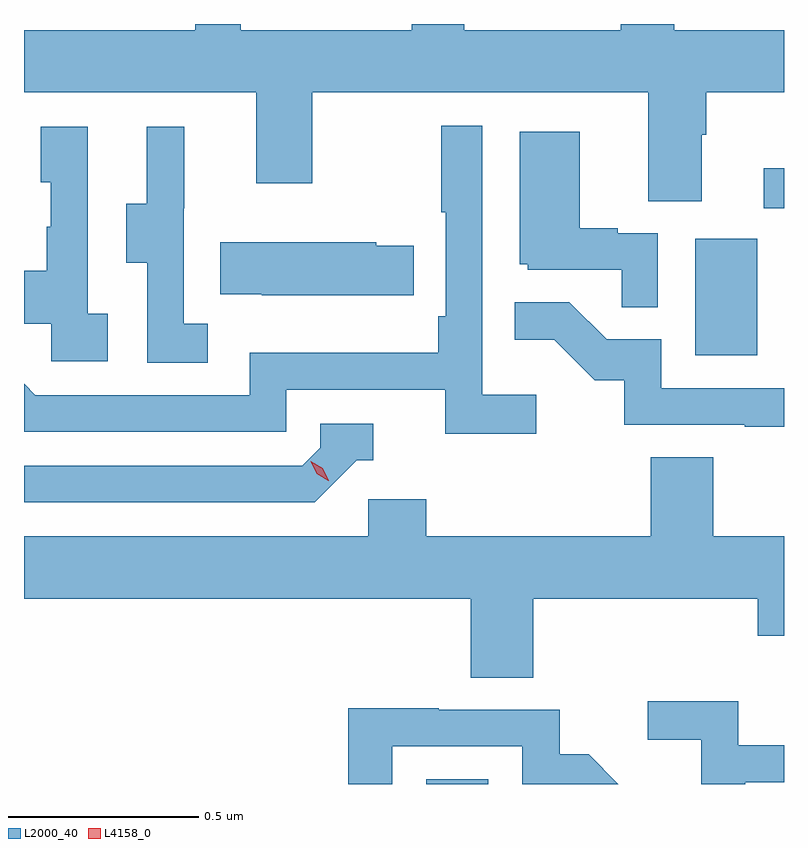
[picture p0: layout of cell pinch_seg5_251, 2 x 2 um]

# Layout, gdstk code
import gdstk
lib = gdstk.Library(unit=1e-6, precision=1e-09)
def R(c, l, rs):  # rectangles x0, y0, x1, y1
    for r in rs: c.add(gdstk.rectangle(r[:2], r[2:], *l))
def P(c, l, *ps):  # polygons
    for p in ps: c.add(gdstk.Polygon(p, *l))
L2000_40 = (2000, 40)
L4158_0 = (4158, 0)

pinch_seg5_251 = lib.new_cell('pinch_seg5_251')
R(pinch_seg5_251, L2000_40, [(938.324,897.564,938.488,897.577), (939.032,898.692,939.196,898.999), (939.213,899.079,939.266,899.185)])
P(pinch_seg5_251, L2000_40, [(939.049,899.272),(939.062,899.272),(939.062,899.384),(939.266,899.384),(939.266,899.548),(938.977,899.548),(938.977,899.564),(938.837,899.564),(938.837,899.548),(938.425,899.548),(938.425,899.564),(938.286,899.564),(938.286,899.548),(937.837,899.548),(937.837,899.564),(937.716,899.564),(937.716,899.548),(937.266,899.548),(937.266,899.384),(937.877,899.384),(937.877,899.145),(938.025,899.145),(938.025,899.384),(938.909,899.384),(938.909,899.098),(939.049,899.098)],
  [(938.614,898.588),(938.472,898.588),(938.472,899.296),(938.364,899.296),(938.364,899.068),(938.376,899.068),(938.376,898.795),(938.356,898.795),(938.356,898.699),(937.86,898.699),(937.86,898.587),(937.296,898.587),(937.266,898.617),(937.266,898.491),(937.956,898.491),(937.956,898.602),(938.375,898.602),(938.375,898.486),(938.614,898.486)],
  [(937.75,898.775),(937.686,898.775),(937.686,899.079),(937.688,899.079),(937.688,899.293),(937.589,899.293),(937.589,899.091),(937.535,899.091),(937.535,898.936),(937.59,898.936),(937.59,898.672),(937.75,898.672)],
  [(937.486,898.802),(937.434,898.802),(937.434,899.293),(937.31,899.293),(937.31,899.148),(937.336,899.148),(937.336,899.03),(937.326,899.03),(937.326,898.915),(937.266,898.915),(937.266,898.775),(937.338,898.775),(937.338,898.677),(937.486,898.677)],
  [(938.934,899.013),(938.828,899.013),(938.828,899.026),(938.728,899.026),(938.728,899.281),(938.57,899.281),(938.57,898.932),(938.592,898.932),(938.592,898.917),(938.839,898.917),(938.839,898.819),(938.934,898.819)],
  [(938.291,898.98),(938.193,898.98),(938.193,898.99),(937.783,898.99),(937.783,898.853),(937.891,898.853),(937.891,898.85),(938.291,898.85)],
  [(939.266,898.605),(938.943,898.605),(938.943,898.734),(938.799,898.734),(938.701,898.832),(938.557,898.832),(938.557,898.733),(938.661,898.733),(938.768,898.626),(938.845,898.626),(938.845,898.509),(939.163,898.509),(939.163,898.504),(939.266,898.504)],
  [(938.142,898.416),(938.185,898.416),(938.185,898.512),(938.046,898.512),(938.046,898.449),(937.998,898.401),(937.266,898.401),(937.266,898.305),(938.031,898.305)],
  [(938.606,898.052),(939.197,898.052),(939.197,897.954),(939.266,897.954),(939.266,898.216),(939.08,898.216),(939.08,898.424),(938.915,898.424),(938.915,898.216),(938.324,898.216),(938.324,898.314),(938.172,898.314),(938.172,898.216),(937.266,898.216),(937.266,898.052),(938.441,898.052),(938.441,897.844),(938.606,897.844)],
  [(939.164,897.569),(939.266,897.569),(939.266,897.666),(939.146,897.666),(939.146,897.782),(938.907,897.782),(938.907,897.68),(939.048,897.68),(939.048,897.564),(939.164,897.564)],
  [(938.235,897.663),(938.577,897.663),(938.577,897.564),(938.83,897.564),(938.752,897.642),(938.676,897.642),(938.676,897.759),(938.357,897.759),(938.357,897.764),(938.119,897.764),(938.119,897.564),(938.235,897.564)])
P(pinch_seg5_251, L4158_0, [(938.067,898.362),(938.037,898.381),(938.021,898.414),(938.021,898.414),(938.021,898.414),(938.052,898.395),(938.068,898.362),(938.068,898.362)])

lib.write_gds('pinch_seg5_251.gds')
